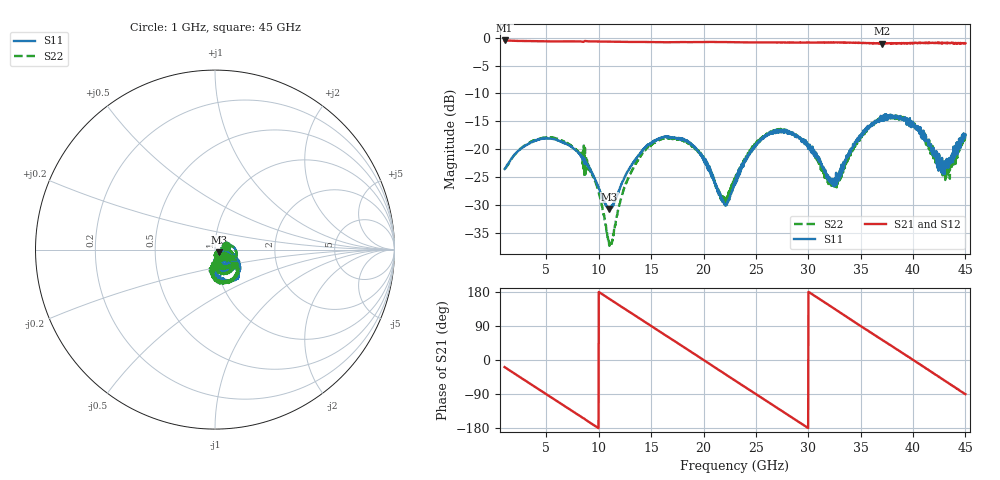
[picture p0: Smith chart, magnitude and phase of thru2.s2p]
!Keysight Technologies,N5247B,MY61255062,A.19.80.06
!Date: Thursday, May 21, 2026 12:22:07
!Correction: S11(Cdelta 2-Port  )
!S21(Cdelta 2-Port  )
!S12(Cdelta 2-Port  )
!S22(Cdelta 2-Port  )
!S2P File: Measurements: S11, S21, S12, S22:
# Hz S  dB  R 50
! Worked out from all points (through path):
!   1601 points, 1 GHz to 45 GHz, reference 50 ohm
!   highest |S21| = -0.46 dB at 1 GHz (marker M1); lowest = -1.0 dB at 37.02 GHz (marker M2)
!   group delay of S21, straight-line fit = 49.9 ps
!   lowest |S11| = -30.8 dB at 11.01 GHz (marker M3), VSWR 1.06, Z = 52.4 - j1.67 ohm
!   |S11| at or under -10 dB: start of sweep to end of sweep
!   |S22| runs from -37.5 to -13.9 dB; largest |S21 - S12| = 0.014
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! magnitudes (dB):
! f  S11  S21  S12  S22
! 1 GHz  -23.6  -0.5  -0.5  -23.6
! 2.65 GHz  -19.8  -0.6  -0.6  -19.7
! 4.713 GHz  -18.1  -0.6  -0.6  -18.0
! 8.342 GHz  -21.2  -0.7  -0.7  -21.7
! 9.855 GHz  -26.3  -0.7  -0.7  -27.0
! 11.01 GHz  -30.8  -0.7  -0.7  -37.4
! 12.94 GHz  -23.4  -0.7  -0.7  -24.7
! 15.69 GHz  -18.2  -0.8  -0.8  -18.5
! 19.04 GHz  -19.6  -0.8  -0.8  -19.7
! 22.07 GHz  -30.0  -0.7  -0.8  -30.1
! 23 GHz  -26.1  -0.8  -0.8  -25.2
! 24.57 GHz  -20.5  -0.8  -0.8  -20.0
! 26.44 GHz  -17.2  -0.8  -0.8  -16.8
! 28.28 GHz  -17.2  -0.8  -0.8  -17.0
! 30.34 GHz  -20.7  -0.8  -0.9  -20.3
! 32.57 GHz  -25.6  -0.8  -0.8  -26.0
! 34.3 GHz  -19.5  -0.9  -0.9  -20.1
! 37.02 GHz  -14.5  -1.0  -1.0  -14.4
! 37.69 GHz  -14.3  -1.0  -1.0  -14.3
! 40.52 GHz  -16.4  -0.9  -0.9  -16.6
! 42.94 GHz  -22.8  -0.9  -0.9  -24.4
! 45 GHz  -17.4  -1.0  -1.0  -17.4
